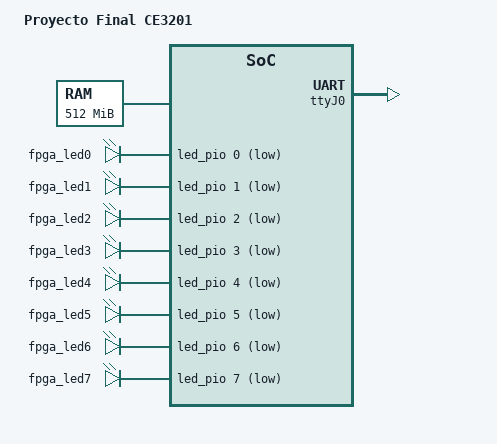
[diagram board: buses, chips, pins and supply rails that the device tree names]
// SPDX-License-Identifier: GPL-2.0-only
/*
 * Copyright (C) 2015 Altera Corporation. All rights reserved.
 * Copyright (C) 2022 Alejandro Soto <alejandro@34project.org>
 */

/dts-v1/;

/ {
	model = "Proyecto Final CE3201";
	compatible = "itcr,ce3201";
	#address-cells = <1>;
	#size-cells = <1>;

	cpus {
		#address-cells = <1>;
		#size-cells = <0>;

		cpu {
			device_type = "cpu";
			compatible = "arm,arm810";
			clocks = <&pll_cpu>;
		};
	};

	memory {
		device_type = "memory";
		reg = <0x0000000 0x20000000>;
	};

	clksrc {
		compatible = "itcr,cyclecnt";
		clocks = <&pll_cpu>;
	};

	clocks {
		pll_cpu: cpu {
			compatible = "fixed-clock";
			#clock-cells = <0>;
			clock-frequency = <90000000>;
			clock-output-names = "sys_pll-cpu";
		};

		pll_bus: bus {
			compatible = "fixed-clock";
			#clock-cells = <0>;
			clock-frequency = <50000000>;
			clock-output-names = "sys_pll-bus";
		};

		pll_pixclk: pixclk {
			compatible = "fixed-clock";
			#clock-cells = <0>;
			clock-frequency = <25175000>;
			clock-output-names = "sys_pll-pixclk";
		};
	};

	soc {
		device_type = "soc";
		#address-cells = <1>;
		#size-cells = <1>;
		compatible = "altr,avalon", "simple-bus";
		clocks = <&pll_bus>;
		interrupt-parent = <&intc>;
		ranges;

		ttyJ0: serial@30000000 {
			compatible = "altr,juart-1.0";
			reg = <0x30000000 0x00000008>;
			interrupts = <1>;
		};

		led_pio: gpio@30010000 {
			compatible = "altr,pio-1.0";
			reg = <0x30010000 0x00000010>;
			altr,ngpio = <8>;
			resetvalue = <15>;

			/* Según binding:
			 * - #gpio-cells: Should be 2
			 *   - The first cell is the gpio offset number.
			 *   - The second cell is reserved and is currently unused.
			 */
			#gpio-cells = <2>;
			gpio-controller;
			gpio-bank-name = "led";
		};

		timer@30020000 {
			compatible = "altr,timer-1.0";
			reg = <0x30020000 0x00000020>;
			interrupts = <0>;
			clocks = <&pll_bus>;
		};

		intc: intc@30003000 {
			compatible = "itcr,intc";
			reg = <0x30070000 0x8>;
			interrupt-controller;
			#interrupt-cells = <1>;
		};

		leds {
			compatible = "gpio-leds";

			fpga0 {
				label = "fpga_led0";
				gpios = <&led_pio 0 1>;
			};

			fpga1 {
				label = "fpga_led1";
				gpios = <&led_pio 1 1>;
			};

			fpga2 {
				label = "fpga_led2";
				gpios = <&led_pio 2 1>;
			};

			fpga3 {
				label = "fpga_led3";
				gpios = <&led_pio 3 1>;
			};

			fpga4 {
				label = "fpga_led4";
				gpios = <&led_pio 4 1>;
			};

			fpga5 {
				label = "fpga_led5";
				gpios = <&led_pio 5 1>;
			};

			fpga6 {
				label = "fpga_led6";
				gpios = <&led_pio 6 1>;
			};

			fpga7 {
				label = "fpga_led7";
				gpios = <&led_pio 7 1>;
			};
		};

		fb0: framebuffer@38000000 {
			compatible = "simple-framebuffer";

			reg = <0x38000000 (640 * 480 * 4)>;
			clocks = <&pll_pixclk>;

			width = <640>;
			height = <480>;
			stride = <(640 * 4)>;
			format = "a8r8g8b8";
		};
	};

	aliases {
		display0 = &fb0;
	};

	chosen {
		bootargs = "earlyprintk";
		stdout-path = &ttyJ0;
	};
};
